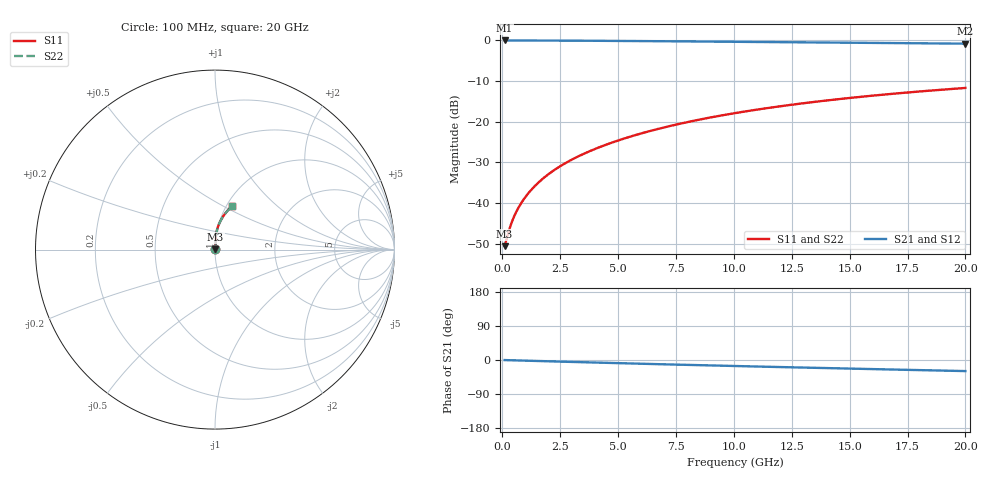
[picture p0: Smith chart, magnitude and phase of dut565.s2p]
! Touchstone file exported from HFSS 2024.1.0
!  File:  C:/UserFiles/LocalFiles/RDL_TSV_Batchsim/temp_RDL_bottom_565_1779689978.aedt
!  Generated:  02:21:54 PM May 25, 2026
!  Design:  RDL_bottom
!  Project:  temp_RDL_bottom_565_1779689978
!  Setup:  Setup1
!  Solution:  Sweep
! Variables:
!  dtsv = 10.80580581um
!  hbump = 3um
!  htsv = 88.44um
!  ldown = 417.67um
!  lrdl = 100um
!  p = 40
!  p1 = 44.07um
!  rhole = 1um
!  t = 450um
!  tdown = 2.65um
!  trdl = 3.915915916um
!  wdown = 23.52um
!  wrdl = 20um
# GHz S MA R 50.000000
! Terminal data exported
! Port[1] = RDL1_T1
! Port[2] = RDL1_T2
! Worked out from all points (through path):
!   200 points, 100 MHz to 20 GHz, reference 50 ohm
!   highest |S21| = -0.02 dB at 100 MHz (marker M1); lowest = -0.8 dB at 20 GHz (marker M2)
!   group delay of S21, straight-line fit = 4.02 ps
!   lowest |S11| = -50.6 dB at 100 MHz (marker M3), VSWR 1.01, Z = 50.3 + j0.13 ohm
!   |S11| at or under -10 dB: start of sweep to end of sweep
!   |S22| runs from -50.6 to -11.7 dB; largest |S21 - S12| = 2.7e-15
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0.1  0.002963 25.9  0.9973 -0.2  0.9973 -0.2  0.002963 25.9
! Gamma 0 0 0 0
! Port Impedance 50 0 50 0
0.3  0.004729 52.4  0.9971 -0.5  0.9971 -0.5  0.004729 52.4
0.4  0.005745 58.4  0.9969 -0.7  0.9969 -0.7  0.005745 58.4
0.5  0.006767 62.6  0.9967 -0.9  0.9967 -0.9  0.006767 62.6
0.6  0.007789 65.8  0.9966 -1.1  0.9966 -1.1  0.007789 65.8
0.8  0.009843 70.4  0.9963 -1.4  0.9963 -1.4  0.009843 70.4
1  0.01192 73.7  0.996 -1.7  0.996 -1.7  0.01192 73.7
1.2  0.01404 76.1  0.9957 -2.1  0.9957 -2.1  0.01404 76.1
1.7  0.01945 80.1  0.9949 -2.9  0.9949 -2.9  0.01945 80.1
2.2  0.02502 82.5  0.9938 -3.8  0.9938 -3.8  0.02502 82.5
2.8  0.0319 84.3  0.9923 -4.8  0.9923 -4.8  0.0319 84.3
3.5  0.04019 85.6  0.9901 -5.9  0.9901 -5.9  0.04019 85.6
4.2  0.04876 86.2  0.9876 -7.0  0.9876 -7.0  0.04876 86.2
5  0.05887 86.5  0.9844 -8.3  0.9844 -8.3  0.05887 86.5
5.9  0.07061 86.4  0.9805 -9.7  0.9805 -9.7  0.07061 86.4
6.8  0.08267 85.9  0.9764 -11.1  0.9764 -11.1  0.08267 85.9
8.4  0.1047 84.5  0.9687 -13.5  0.9687 -13.5  0.1047 84.5
10.1  0.1284 82.5  0.9602 -16.0  0.9602 -16.0  0.1284 82.5
11.7  0.1508 80.4  0.9522 -18.2  0.9522 -18.2  0.1508 80.4
13.4  0.1744 78.0  0.9437 -20.6  0.9437 -20.6  0.1744 78.0
16.7  0.2186 73.1  0.9272 -25.0  0.9272 -25.0  0.2186 73.1
20  0.2603 68.4  0.9107 -29.2  0.9107 -29.2  0.2603 68.4
